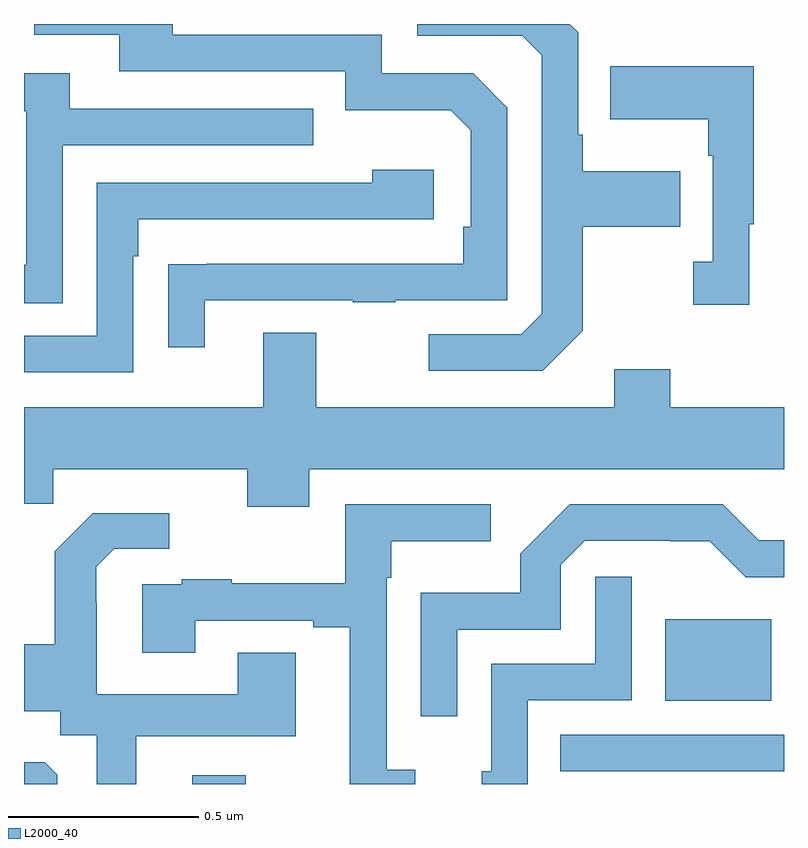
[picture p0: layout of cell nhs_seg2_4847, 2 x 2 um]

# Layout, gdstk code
import gdstk
lib = gdstk.Library(unit=1e-6, precision=1e-09)
def R(c, l, rs):  # rectangles x0, y0, x1, y1
    for r in rs: c.add(gdstk.rectangle(r[:2], r[2:], *l))
def P(c, l, *ps):  # polygons
    for p in ps: c.add(gdstk.Polygon(p, *l))
L2000_40 = (2000, 40)

nhs_seg2_4847 = lib.new_cell('nhs_seg2_4847')
R(nhs_seg2_4847, L2000_40, [(171.443,654.8,171.583,654.823), (172.411,654.834,173,654.93), (172.688,655.019,172.966,655.234)])
P(nhs_seg2_4847, L2000_40, [(171.475,656.073),(171.865,656.073),(171.865,656.068),(171.977,656.068),(171.977,656.073),(172.272,656.073),(172.272,656.58),(172.182,656.67),(171.942,656.67),(171.942,656.772),(171.391,656.772),(171.391,656.8),(171.027,656.8),(171.027,656.772),(171.251,656.772),(171.251,656.676),(171.846,656.676),(171.846,656.573),(172.123,656.573),(172.176,656.52),(172.176,656.266),(172.156,656.266),(172.156,656.169),(171.481,656.169),(171.481,656.168),(171.379,656.168),(171.379,655.95),(171.475,655.95)],
  [(172.471,655.993),(172.471,656.266),(172.727,656.266),(172.727,656.413),(172.471,656.413),(172.471,656.509),(172.458,656.509),(172.458,656.778),(172.436,656.8),(172.035,656.8),(172.035,656.769),(172.311,656.769),(172.362,656.718),(172.362,656.037),(172.308,655.983),(172.065,655.983),(172.065,655.887),(172.365,655.887)],
  [(172.909,656.273),(172.921,656.273),(172.921,656.689),(172.543,656.689),(172.543,656.549),(172.8,656.549),(172.8,656.453),(172.812,656.453),(172.812,656.174),(172.761,656.174),(172.761,656.061),(172.909,656.061)],
  [(171.102,656.481),(171.761,656.481),(171.761,656.577),(171.121,656.577),(171.121,656.671),(171,656.671),(171,656.571),(171.006,656.571),(171.006,656.166),(171,656.166),(171,656.065),(171.102,656.065)],
  [(171.288,656.189),(171.301,656.189),(171.301,656.286),(172.078,656.286),(172.078,656.416),(171.917,656.416),(171.917,656.382),(171.192,656.382),(171.192,655.98),(171,655.98),(171,655.884),(171.288,655.884)],
  [(171.751,655.628),(173,655.628),(173,655.792),(172.701,655.792),(172.701,655.891),(172.553,655.891),(172.553,655.792),(171.769,655.792),(171.769,655.987),(171.629,655.987),(171.629,655.792),(171,655.792),(171,655.538),(171.077,655.538),(171.077,655.628),(171.587,655.628),(171.587,655.529),(171.751,655.529)],
  [(172.14,655.206),(172.413,655.206),(172.413,655.377),(172.476,655.44),(172.7,655.44),(172.7,655.439),(172.805,655.439),(172.899,655.344),(173,655.344),(173,655.442),(172.934,655.442),(172.839,655.536),(172.436,655.536),(172.306,655.406),(172.306,655.303),(172.044,655.303),(172.044,654.978),(172.14,654.978)],
  [(172.03,654.838),(171.954,654.838),(171.954,655.343),(171.967,655.343),(171.967,655.439),(172.228,655.439),(172.228,655.536),(171.846,655.536),(171.846,655.328),(171.547,655.328),(171.547,655.339),(171.415,655.339),(171.415,655.326),(171.311,655.326),(171.311,655.146),(171.451,655.146),(171.451,655.23),(171.761,655.23),(171.761,655.212),(171.857,655.212),(171.857,654.8),(172.03,654.8)],
  [(171.295,654.926),(171.715,654.926),(171.715,655.145),(171.563,655.145),(171.563,655.036),(171.192,655.036),(171.192,655.277),(171.19,655.277),(171.19,655.372),(171.237,655.419),(171.382,655.419),(171.382,655.513),(171.181,655.513),(171.081,655.413),(171.081,655.168),(171,655.168),(171,654.992),(171.096,654.992),(171.096,654.928),(171.191,654.928),(171.191,654.8),(171.295,654.8)],
  [(172.326,655.02),(172.599,655.02),(172.599,655.345),(172.503,655.345),(172.503,655.116),(172.23,655.116),(172.23,654.834),(172.205,654.834),(172.205,654.8),(172.326,654.8)],
  [(171.087,654.825),(171.055,654.857),(171,654.857),(171,654.8),(171.087,654.8)])

lib.write_gds('nhs_seg2_4847.gds')
